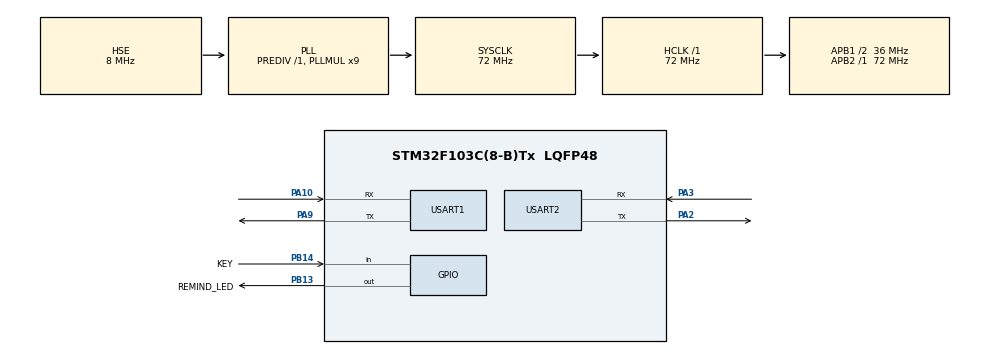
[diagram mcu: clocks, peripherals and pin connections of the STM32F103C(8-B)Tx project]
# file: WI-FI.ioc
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Mcu.Family=STM32F1
Mcu.Name=STM32F103C(8-B)Tx
Mcu.Package=LQFP48
NVIC.PriorityGroup=NVIC_PRIORITYGROUP_4
NVIC.USART2_IRQn=true\:0\:0\:false\:false\:true\:true\:true\:true
PA10.Mode=Asynchronous
PA10.Signal=USART1_RX
PA13.Mode=Serial_Wire
PA13.Signal=SYS_JTMS-SWDIO
PA14.Mode=Serial_Wire
PA14.Signal=SYS_JTCK-SWCLK
PA2.Mode=Asynchronous
PA2.Signal=USART2_TX
PA3.Mode=Asynchronous
PA3.Signal=USART2_RX
PA9.Mode=Asynchronous
PA9.Signal=USART1_TX
PB13.GPIO_Label=REMIND_LED
PB13.GPIO_PuPd=GPIO_PULLUP
PB13.GPIO_Speed=GPIO_SPEED_FREQ_HIGH
PB13.Signal=GPIO_Output
PB14.GPIO_Label=KEY
PB14.GPIO_PuPd=GPIO_PULLUP
PB14.Signal=GPIO_Input
PC14-OSC32_IN.Mode=LSE-External-Oscillator
PC14-OSC32_IN.Signal=RCC_OSC32_IN
PC15-OSC32_OUT.Mode=LSE-External-Oscillator
PC15-OSC32_OUT.Signal=RCC_OSC32_OUT
PD0-OSC_IN.Mode=HSE-External-Oscillator
PD0-OSC_IN.Signal=RCC_OSC_IN
PD1-OSC_OUT.Mode=HSE-External-Oscillator
PD1-OSC_OUT.Signal=RCC_OSC_OUT
ProjectManager.HeapSize=0x200
ProjectManager.StackSize=0x400
ProjectManager.TargetToolchain=CMake
RCC.AHBFreq_Value=72000000
RCC.APB1CLKDivider=RCC_HCLK_DIV2
RCC.APB1Freq_Value=36000000
RCC.APB1TimFreq_Value=72000000
RCC.APB2Freq_Value=72000000
RCC.APB2TimFreq_Value=72000000
RCC.HCLKFreq_Value=72000000
RCC.PLLMUL=RCC_PLL_MUL9
RCC.PLLSourceVirtual=RCC_PLLSOURCE_HSE
RCC.SYSCLKFreq_VALUE=72000000
RCC.SYSCLKSource=RCC_SYSCLKSOURCE_PLLCLK
RCC.USBFreq_Value=72000000
USART1.VirtualMode=VM_ASYNC
USART2.VirtualMode=VM_ASYNC
board=custom

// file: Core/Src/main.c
/* USER CODE BEGIN Header */
/**
  ******************************************************************************
  * @file           : main.c
  * @brief          : Main program body
  ******************************************************************************
  * @attention
  *
  * Copyright (c) 2026 STMicroelectronics.
  * All rights reserved.
  *
  * This software is licensed under terms that can be found in the LICENSE file
  * in the root directory of this software component.
  * If no LICENSE file comes with this software, it is provided AS-IS.
  *
  ******************************************************************************
  */
/* USER CODE END Header */
#include "main.h"
#include "usart.h"
#include "gpio.h"

/* USER CODE BEGIN Includes */
#include <stdlib.h>

#include "esp32.h"
#include "OTA.h"
#include"wifi.h"
#include "fw_meta.h"
#include "boot_jump.h"
#include "task.h"
/* USER CODE END Includes */

/* USER CODE BEGIN PTD */
/* 原来的 rxbuff[1024] / rxlen / id / ip / port 是旧 TCP 代码留下的，
   全工程没人使用，白占 1KB RAM（20KB 的 5%），已删除 */
/* USER CODE END PTD */

void SystemClock_Config(void);

/* USER CODE BEGIN 0 */
extern UART_HandleTypeDef huart2;

#ifdef __GNUC__
#define PUTCHAR_PROTOTYPE int __io_putchar(int ch)
#else
#define PUTCHAR_PROTOTYPE int fputc(int ch, FILE *f)
#endif

/* 调试口统一为 USART2(PA2/PA3)，115200-8-N-1：
 *   APP/printf_uart.c 里自实现的 printf 输出到 huart2；
 *   这里的 __io_putchar 是 newlib 标准库的兜底出口
 *   （puts / fprintf(stdout) 等 -> _write -> __io_putchar），也必须指向 huart2，
 *   否则又会出现“两个串口各看到一半 printf”的分叉现象。
 */
PUTCHAR_PROTOTYPE
{
  HAL_UART_Transmit(&huart2, (uint8_t *)&ch, 1, HAL_MAX_DELAY);
  return ch;
}

/* USER CODE END 0 */

int main(void) {

  /* MCU Configuration--------------------------------------------------------*/

  /* Reset of all peripherals, Initializes the Flash interface and the Systick. */
  HAL_Init();

  /* Configure the system clock */
  SystemClock_Config();

  /* Initialize all configured peripherals */
  MX_GPIO_Init();
  MX_USART1_UART_Init();
  MX_USART2_UART_Init();
  /* USER CODE BEGIN 2 */

  /* 连 WiFi（ESP32_Init 内部会 AT+RST 复位模组，复位后再关回显，见 esp32.c） */
  WIFI_Init(STA);

  /* 升级检查任务：查 WiFi -> 查 OneNET -> 对比版本/大小 -> 下载到备份区 -> 跳 bootloader
     （下载失败会直接返回，继续跑旧程序，下次上电重试） */
  ota_task();
  /* USER CODE END 2 */

  /* Infinite loop */
  /* USER CODE BEGIN WHILE */
  while (1)
  {
    //ota_task();
    /* USER CODE END WHILE */

    /* USER CODE BEGIN 3 */
    /* 任务 1：其他业务（这里用 LED 闪烁代替） */
    led_task();
  }
  /* USER CODE END 3 */
}

void SystemClock_Config(void)
{
  RCC_OscInitTypeDef RCC_OscInitStruct = {0};
  RCC_ClkInitTypeDef RCC_ClkInitStruct = {0};

  /** Initializes the RCC Oscillators according to the specified parameters
  * in the RCC_OscInitTypeDef structure.
  */
  RCC_OscInitStruct.OscillatorType = RCC_OSCILLATORTYPE_HSE;
  RCC_OscInitStruct.HSEState = RCC_HSE_ON;
  RCC_OscInitStruct.HSEPredivValue = RCC_HSE_PREDIV_DIV1;
  RCC_OscInitStruct.HSIState = RCC_HSI_ON;
  RCC_OscInitStruct.PLL.PLLState = RCC_PLL_ON;
  RCC_OscInitStruct.PLL.PLLSource = RCC_PLLSOURCE_HSE;
  RCC_OscInitStruct.PLL.PLLMUL = RCC_PLL_MUL9;
  if (HAL_RCC_OscConfig(&RCC_OscInitStruct) != HAL_OK)
  {
    Error_Handler();
  }

  /** Initializes the CPU, AHB and APB buses clocks
  */
  RCC_ClkInitStruct.ClockType = RCC_CLOCKTYPE_HCLK|RCC_CLOCKTYPE_SYSCLK
                              |RCC_CLOCKTYPE_PCLK1|RCC_CLOCKTYPE_PCLK2;
  RCC_ClkInitStruct.SYSCLKSource = RCC_SYSCLKSOURCE_PLLCLK;
  RCC_ClkInitStruct.AHBCLKDivider = RCC_SYSCLK_DIV1;
  RCC_ClkInitStruct.APB1CLKDivider = RCC_HCLK_DIV2;
  RCC_ClkInitStruct.APB2CLKDivider = RCC_HCLK_DIV1;

  if (HAL_RCC_ClockConfig(&RCC_ClkInitStruct, FLASH_LATENCY_2) != HAL_OK)
  {
    Error_Handler();
  }
}

void Error_Handler(void)
{
  __disable_irq();
  while (1)
  {
  }
}
